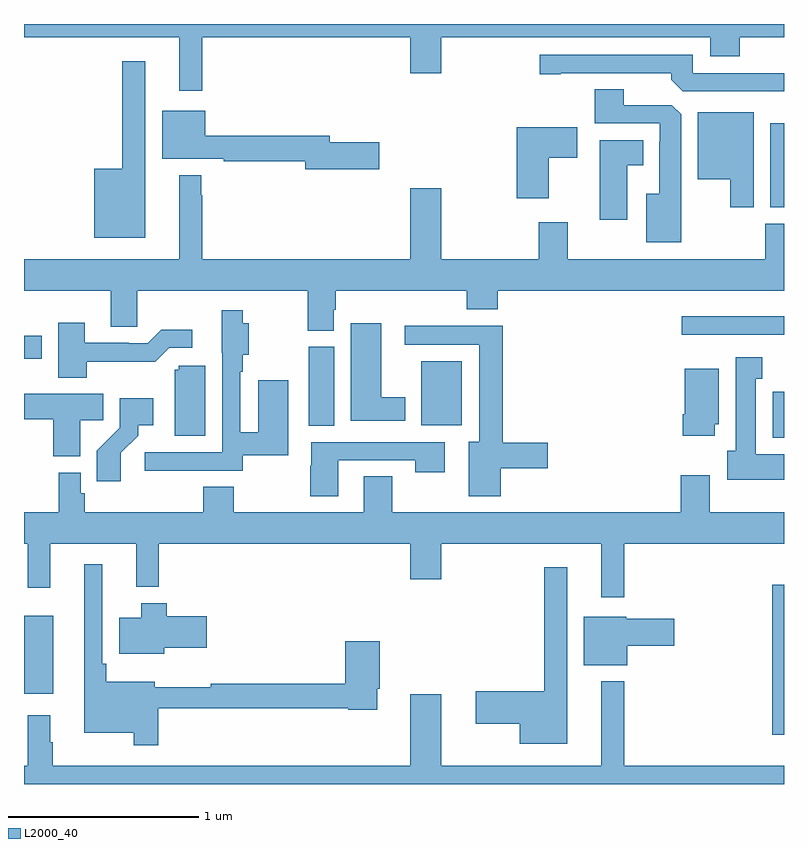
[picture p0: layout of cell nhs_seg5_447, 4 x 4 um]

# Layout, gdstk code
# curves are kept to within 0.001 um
import gdstk
lib = gdstk.Library(unit=1e-6, precision=1e-09)
def R(c, l, rs):  # rectangles x0, y0, x1, y1
    for r in rs: c.add(gdstk.rectangle(r[:2], r[2:], *l))
def P(c, l, *ps):  # polygons
    for p in ps: c.add(gdstk.Polygon(p, *l))
L2000_40 = (2000, 40)

nhs_seg5_447 = lib.new_cell('nhs_seg5_447')
R(nhs_seg5_447, L2000_40, [(142.938,885.057,143,885.848), (139,885.275,139.153,885.685), (142.94,886.622,143,886.864), (140.498,886.684,140.632,887.1), (141.092,886.688,141.304,887.023), (139,887.036,139.093,887.158), (142.461,887.163,143,887.26), (142.928,887.834,143,888.277)])
P(nhs_seg5_447, L2000_40, [(139.939,888.728),(141.032,888.728),(141.032,888.54),(141.196,888.54),(141.196,888.728),(142.613,888.728),(142.613,888.629),(142.766,888.629),(142.766,888.728),(143,888.728),(143,888.799),(139,888.799),(139,888.728),(139.817,888.728),(139.817,888.447),(139.939,888.447)],
  [(143,888.54),(142.521,888.54),(142.521,888.636),(141.714,888.636),(141.714,888.535),(141.826,888.535),(141.826,888.54),(142.406,888.54),(142.406,888.506),(142.467,888.444),(143,888.444)],
  [(139.639,888.604),(139.518,888.604),(139.518,888.037),(139.37,888.037),(139.37,887.675),(139.639,887.675)],
  [(142.459,888.323),(142.41,888.372),(142.156,888.372),(142.156,888.455),(142.004,888.455),(142.004,888.276),(142.347,888.276),(142.347,888.179),(142.343,888.179),(142.343,887.905),(142.274,887.905),(142.274,887.651),(142.459,887.651)],
  [(140.869,888.176),(140.608,888.176),(140.608,888.212),(139.954,888.212),(139.954,888.343),(139.727,888.343),(139.727,888.089),(140.05,888.089),(140.05,888.076),(140.48,888.076),(140.48,888.034),(140.869,888.034)],
  [(142.84,888.334),(142.547,888.334),(142.547,887.981),(142.718,887.981),(142.718,887.835),(142.84,887.835)],
  [(141.763,888.094),(141.913,888.094),(141.913,888.256),(141.593,888.256),(141.593,887.883),(141.763,887.883)],
  [(142.174,888.056),(142.258,888.056),(142.258,888.187),(142.031,888.187),(142.031,887.769),(142.174,887.769)],
  [(140.629,887.295),(140.642,887.295),(140.642,887.396),(141.329,887.396),(141.329,887.297),(141.494,887.297),(141.494,887.396),(143,887.396),(143,887.749),(142.9,887.749),(142.9,887.56),(141.862,887.56),(141.862,887.755),(141.71,887.755),(141.71,887.56),(141.196,887.56),(141.196,887.935),(141.032,887.935),(141.032,887.56),(139.939,887.56),(139.939,887.897),(139.932,887.897),(139.932,888.004),(139.817,888.004),(139.817,887.56),(139,887.56),(139,887.396),(139.457,887.396),(139.457,887.206),(139.596,887.206),(139.596,887.396),(140.494,887.396),(140.494,887.185),(140.629,887.185)],
  [(139.859,886.449),(140.152,886.449),(140.152,886.53),(140.392,886.53),(140.392,886.924),(140.234,886.924),(140.234,886.651),(140.139,886.651),(140.139,886.97),(140.152,886.97),(140.152,887.059),(140.184,887.059),(140.184,887.224),(140.152,887.224),(140.152,887.293),(140.042,887.293),(140.042,887.07),(140.043,887.07),(140.043,886.545),(139.635,886.545),(139.635,886.447),(139.859,886.447)],
  [(139.329,887.022),(139.691,887.021),(139.764,887.094),(139.885,887.094),(139.885,887.191),(139.723,887.191),(139.65,887.118),(139.55,887.118),(139.55,887.121),(139.321,887.121),(139.321,887.227),(139.181,887.227),(139.181,886.937),(139.329,886.937)],
  [(141.007,886.834),(140.881,886.834),(140.881,887.224),(140.72,887.224),(140.72,886.712),(141.007,886.712)],
  [(141.508,886.46),(141.757,886.46),(141.757,886.595),(141.521,886.595),(141.521,887.21),(141.003,887.21),(141.003,887.112),(141.395,887.112),(141.395,886.6),(141.341,886.6),(141.341,886.314),(141.508,886.314)],
  [(143,886.534),(142.852,886.534),(142.852,886.931),(142.885,886.931),(142.885,887.044),(142.745,887.044),(142.745,886.554),(142.7,886.554),(142.7,886.4),(143,886.4)],
  [(139.954,887.001),(139.815,887.001),(139.815,886.98),(139.793,886.98),(139.793,886.632),(139.954,886.632)],
  [(142.636,886.692),(142.657,886.692),(142.657,886.984),(142.478,886.984),(142.478,886.744),(142.466,886.744),(142.466,886.632),(142.636,886.632)],
  [(139.297,886.714),(139.418,886.714),(139.418,886.852),(139,886.852),(139,886.718),(139.153,886.718),(139.153,886.523),(139.297,886.523)],
  [(139.51,886.543),(139.6,886.633),(139.6,886.688),(139.681,886.688),(139.681,886.828),(139.503,886.828),(139.503,886.673),(139.384,886.554),(139.384,886.392),(139.51,886.392)],
  [(140.653,886.503),(141.058,886.503),(141.058,886.44),(141.214,886.44),(141.214,886.599),(140.513,886.599),(140.513,886.475),(140.506,886.475),(140.506,886.314),(140.653,886.314)],
  [(139,886.064),(139.021,886.064),(139.021,885.831),(139.139,885.831),(139.139,886.064),(139.592,886.064),(139.592,885.836),(139.709,885.836),(139.709,886.064),(141.032,886.064),(141.032,885.876),(141.196,885.876),(141.196,886.064),(142.037,886.064),(142.037,885.783),(142.159,885.783),(142.159,886.064),(143,886.064),(143,886.228),(142.609,886.228),(142.609,886.423),(142.457,886.423),(142.457,886.228),(140.937,886.228),(140.937,886.418),(140.789,886.418),(140.789,886.228),(140.103,886.228),(140.103,886.364),(139.943,886.364),(139.943,886.228),(139.319,886.228),(139.319,886.329),(139.299,886.329),(139.299,886.438),(139.183,886.438),(139.183,886.228),(139,886.228)],
  [(139.706,885.198),(140.706,885.198),(140.706,885.19),(140.86,885.19),(140.86,885.301),(140.873,885.301),(140.873,885.55),(140.69,885.55),(140.69,885.326),(139.983,885.326),(139.983,885.308),(139.687,885.308),(139.687,885.337),(139.433,885.337),(139.433,885.433),(139.413,885.433),(139.413,885.955),(139.316,885.955),(139.316,885.068),(139.578,885.068),(139.578,885.003),(139.706,885.003)],
  [(141.859,885.94),(141.738,885.94),(141.738,885.287),(141.378,885.287),(141.378,885.116),(141.608,885.116),(141.608,885.011),(141.859,885.011)],
  [(139.738,885.515),(139.963,885.515),(139.963,885.681),(139.751,885.681),(139.751,885.751),(139.616,885.751),(139.616,885.673),(139.502,885.673),(139.502,885.485),(139.738,885.485)],
  [(142.174,885.527),(142.423,885.527),(142.423,885.669),(142.17,885.669),(142.17,885.679),(141.947,885.679),(141.947,885.425),(142.174,885.425)],
  [(143,884.896),(142.159,884.896),(142.159,885.34),(142.037,885.34),(142.037,884.896),(141.196,884.896),(141.196,885.271),(141.032,885.271),(141.032,884.896),(139.15,884.896),(139.15,885.02),(139.138,885.02),(139.138,885.16),(139.021,885.16),(139.021,884.896),(139,884.896),(139,884.799),(143,884.799)])

lib.write_gds('nhs_seg5_447.gds')
